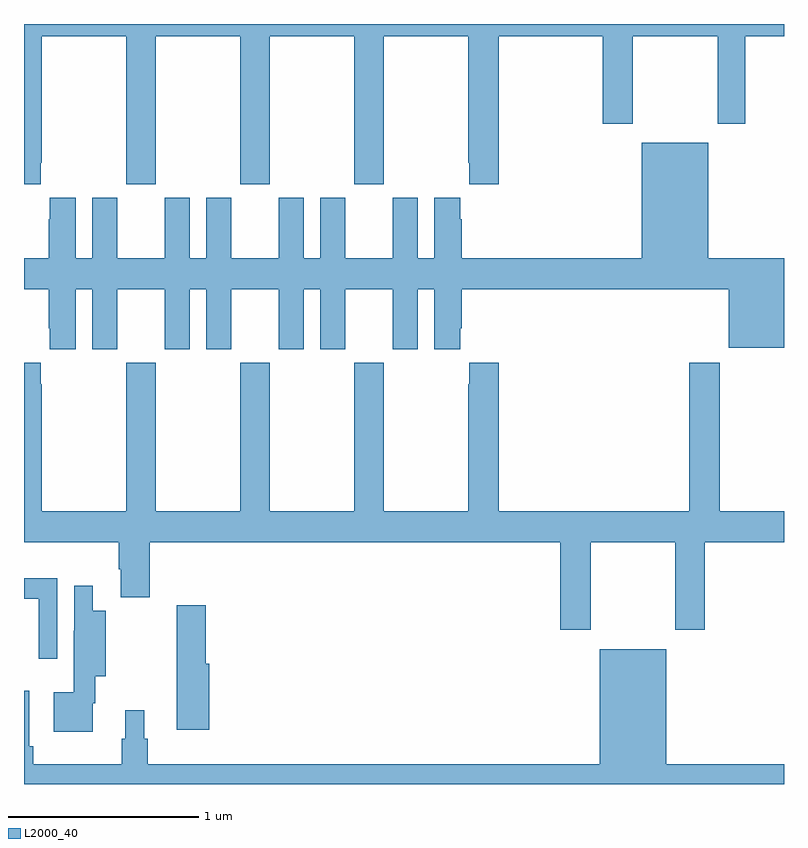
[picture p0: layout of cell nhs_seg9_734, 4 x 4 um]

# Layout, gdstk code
import gdstk
lib = gdstk.Library(unit=1e-6, precision=1e-09)
def P(c, l, *ps):  # polygons
    for p in ps: c.add(gdstk.Polygon(p, *l))
L2000_40 = (2000, 40)

nhs_seg9_734 = lib.new_cell('nhs_seg9_734')
P(nhs_seg9_734, L2000_40, [(149.089,1179.769),(149.094,1179.769),(149.094,1180.436),(149.539,1180.436),(149.539,1179.657),(149.694,1179.657),(149.694,1180.436),(150.139,1180.436),(150.139,1179.657),(150.294,1179.657),(150.294,1180.436),(150.739,1180.436),(150.739,1179.657),(150.894,1179.657),(150.894,1180.436),(151.339,1180.436),(151.339,1179.769),(151.343,1179.769),(151.343,1179.657),(151.499,1179.657),(151.499,1180.436),(152.045,1180.436),(152.045,1179.975),(152.205,1179.975),(152.205,1180.436),(152.65,1180.436),(152.65,1179.975),(152.797,1179.975),(152.797,1180.436),(153,1180.436),(153,1180.5),(149,1180.5),(149,1179.657),(149.089,1179.657)],
  [(149.272,1179.104),(149.36,1179.104),(149.36,1178.787),(149.491,1178.787),(149.491,1179.104),(149.741,1179.104),(149.741,1178.787),(149.872,1178.787),(149.872,1179.104),(149.96,1179.104),(149.96,1178.787),(150.091,1178.787),(150.091,1179.104),(150.341,1179.104),(150.341,1178.787),(150.472,1178.787),(150.472,1179.104),(150.56,1179.104),(150.56,1178.787),(150.691,1178.787),(150.691,1179.104),(150.941,1179.104),(150.941,1178.787),(151.072,1178.787),(151.072,1179.104),(151.16,1179.104),(151.16,1178.787),(151.297,1178.787),(151.297,1178.899),(151.304,1178.899),(151.304,1179.104),(152.708,1179.104),(152.708,1178.795),(153,1178.795),(153,1179.268),(152.602,1179.268),(152.602,1179.874),(152.252,1179.874),(152.252,1179.268),(151.304,1179.268),(151.304,1179.473),(151.297,1179.473),(151.297,1179.586),(151.16,1179.586),(151.16,1179.268),(151.072,1179.268),(151.072,1179.586),(150.941,1179.586),(150.941,1179.268),(150.691,1179.268),(150.691,1179.586),(150.56,1179.586),(150.56,1179.268),(150.472,1179.268),(150.472,1179.586),(150.341,1179.586),(150.341,1179.268),(150.091,1179.268),(150.091,1179.586),(149.96,1179.586),(149.96,1179.268),(149.872,1179.268),(149.872,1179.586),(149.741,1179.586),(149.741,1179.268),(149.491,1179.268),(149.491,1179.586),(149.36,1179.586),(149.36,1179.268),(149.272,1179.268),(149.272,1179.586),(149.135,1179.586),(149.135,1179.473),(149.129,1179.473),(149.129,1179.268),(149,1179.268),(149,1179.104),(149.129,1179.104),(149.129,1178.899),(149.135,1178.899),(149.135,1178.787),(149.272,1178.787)],
  [(151.983,1177.772),(152.428,1177.772),(152.428,1177.311),(152.583,1177.311),(152.583,1177.772),(153,1177.772),(153,1177.936),(152.661,1177.936),(152.661,1178.716),(152.501,1178.716),(152.501,1177.936),(151.499,1177.936),(151.499,1178.716),(151.343,1178.716),(151.343,1178.603),(151.339,1178.603),(151.339,1177.936),(150.894,1177.936),(150.894,1178.716),(150.739,1178.716),(150.739,1177.936),(150.294,1177.936),(150.294,1178.716),(150.139,1178.716),(150.139,1177.936),(149.694,1177.936),(149.694,1178.716),(149.539,1178.716),(149.539,1177.936),(149.094,1177.936),(149.094,1178.603),(149.089,1178.603),(149.089,1178.716),(149,1178.716),(149,1177.772),(149.498,1177.772),(149.498,1177.63),(149.51,1177.63),(149.51,1177.482),(149.663,1177.482),(149.663,1177.772),(151.823,1177.772),(151.823,1177.311),(151.983,1177.311)],
  [(149.175,1177.584),(149,1177.584),(149,1177.476),(149.078,1177.476),(149.078,1177.158),(149.175,1177.158)],
  [(149.361,1176.926),(149.374,1176.926),(149.374,1177.067),(149.43,1177.067),(149.43,1177.411),(149.362,1177.411),(149.362,1177.543),(149.264,1177.543),(149.264,1177.307),(149.263,1177.307),(149.263,1176.982),(149.156,1176.982),(149.156,1176.776),(149.361,1176.776)],
  [(149.975,1177.134),(149.957,1177.134),(149.957,1177.441),(149.803,1177.441),(149.803,1177.134),(149.804,1177.134),(149.804,1176.786),(149.975,1176.786)],
  [(153,1176.604),(152.38,1176.604),(152.38,1177.21),(152.03,1177.21),(152.03,1176.604),(149.651,1176.604),(149.651,1176.738),(149.632,1176.738),(149.632,1176.889),(149.534,1176.889),(149.534,1176.738),(149.515,1176.738),(149.515,1176.604),(149.048,1176.604),(149.048,1176.7),(149.028,1176.7),(149.028,1176.991),(149,1176.991),(149,1176.5),(153,1176.5)])

lib.write_gds('nhs_seg9_734.gds')
